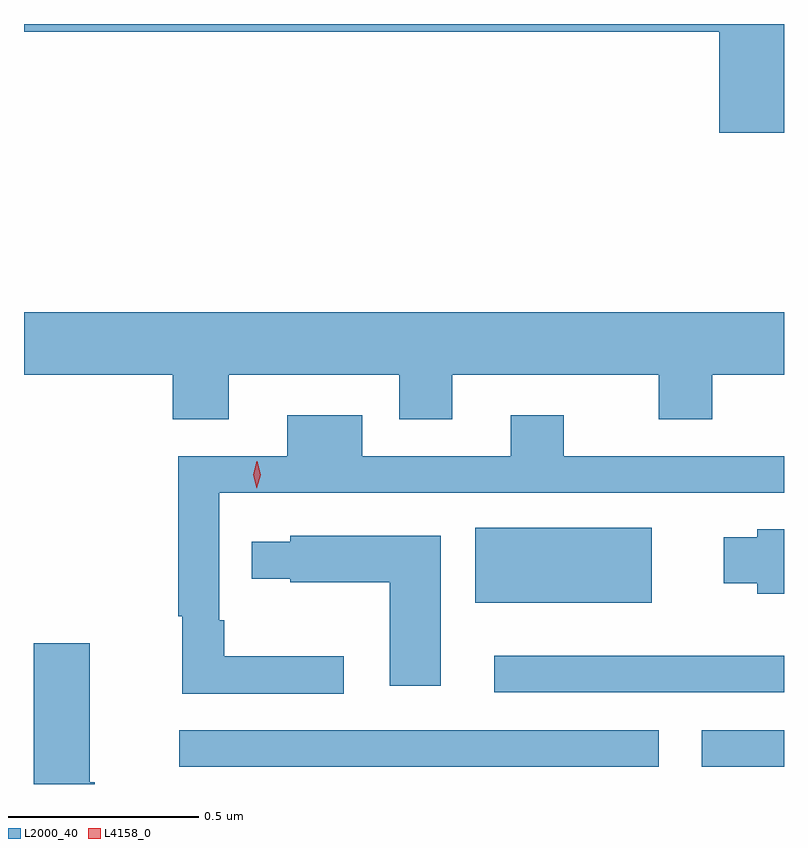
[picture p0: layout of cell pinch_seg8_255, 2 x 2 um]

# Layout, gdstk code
import gdstk
lib = gdstk.Library(unit=1e-6, precision=1e-09)
def R(c, l, rs):  # rectangles x0, y0, x1, y1
    for r in rs: c.add(gdstk.rectangle(r[:2], r[2:], *l))
def P(c, l, *ps):  # polygons
    for p in ps: c.add(gdstk.Polygon(p, *l))
L2000_40 = (2000, 40)
L4158_0 = (4158, 0)

pinch_seg8_255 = lib.new_cell('pinch_seg8_255')
R(pinch_seg8_255, L2000_40, [(819.033,1122.128,820.294,1122.225), (820.407,1122.128,820.624,1122.225), (819.861,1122.324,820.624,1122.421), (819.812,1122.56,820.276,1122.757)])
P(pinch_seg8_255, L2000_40, [(820.624,1124.083),(818.624,1124.083),(818.624,1124.062),(820.454,1124.062),(820.454,1123.797),(820.624,1123.797)],
  [(819.163,1123.16),(819.611,1123.16),(819.611,1123.043),(819.751,1123.043),(819.751,1123.16),(820.295,1123.16),(820.295,1123.043),(820.435,1123.043),(820.435,1123.16),(820.624,1123.16),(820.624,1123.324),(818.624,1123.324),(818.624,1123.16),(819.016,1123.16),(819.016,1123.043),(819.163,1123.043)],
  [(819.466,1122.419),(819.151,1122.419),(819.151,1122.514),(819.138,1122.514),(819.138,1122.849),(820.624,1122.849),(820.624,1122.945),(820.045,1122.945),(820.045,1123.054),(819.905,1123.054),(819.905,1122.945),(819.514,1122.945),(819.514,1123.054),(819.317,1123.054),(819.317,1122.945),(819.03,1122.945),(819.03,1122.524),(819.04,1122.524),(819.04,1122.321),(819.466,1122.321)],
  [(820.624,1122.754),(820.554,1122.754),(820.554,1122.733),(820.466,1122.733),(820.466,1122.611),(820.554,1122.611),(820.554,1122.584),(820.624,1122.584)],
  [(819.721,1122.736),(819.324,1122.736),(819.324,1122.72),(819.223,1122.72),(819.223,1122.623),(819.324,1122.623),(819.324,1122.614),(819.587,1122.614),(819.587,1122.342),(819.721,1122.342)],
  [(818.81,1122.088),(818.797,1122.088),(818.797,1122.454),(818.65,1122.454),(818.65,1122.083),(818.81,1122.083)])
P(pinch_seg8_255, L4158_0, [(819.237,1122.861),(819.237,1122.861),(819.227,1122.897),(819.237,1122.933),(819.237,1122.933),(819.238,1122.933),(819.247,1122.897),(819.237,1122.861)])

lib.write_gds('pinch_seg8_255.gds')
